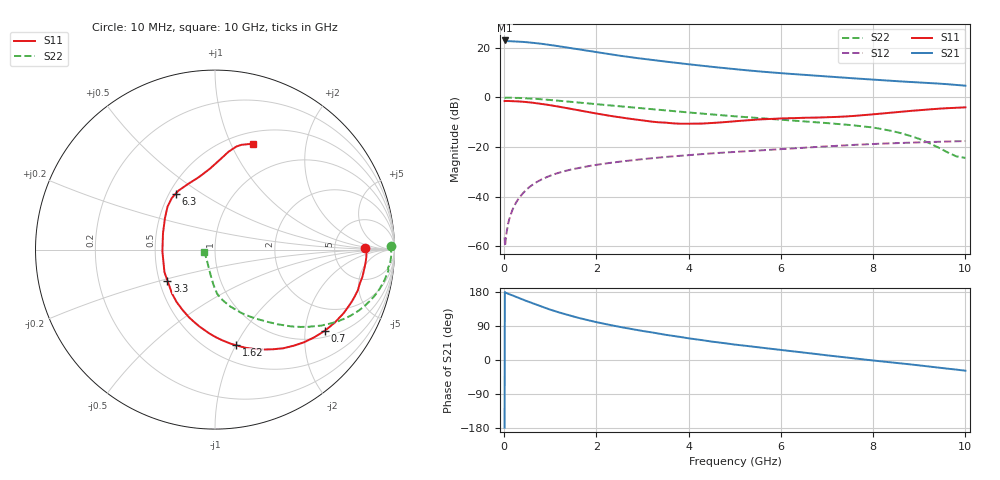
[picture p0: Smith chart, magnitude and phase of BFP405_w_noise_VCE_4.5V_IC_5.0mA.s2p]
! Infineon Technologies  Discrete & RF Semiconductors
! BFP405
! VCE =  4.5 V,  IC =  5.0 mA
! Common Emitter S-Parameters:  Jan 2016
# GHz  S  MA  R  50
!  f  S11  S21  S12  S22
! GHz  MAG  ANG  MAG  ANG  MAG  ANG  MAG  ANG
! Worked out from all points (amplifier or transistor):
!   233 points, 10 MHz to 10 GHz, reference 50 ohm
!   highest |S21| = 22.9 dB at 10 MHz (marker M1)
!   |S21| within 3 dB of that: start of sweep to 1.413 GHz
!   unconditionally stable (mu >= 1): start of sweep to 30.58 MHz; 3.415 GHz to end of sweep
!   at 200 MHz: K = 0.27, MSG = 33.5 dB, |S12| = -44.4 dB
!   at 1.74 GHz: K = 0.56, MSG = 23.5 dB, |S12| = -28.0 dB
!   at 10 GHz: K = 1.44, MAG = 7.2 dB, |S12| = -17.6 dB
!   lowest NFmin = 1.22 dB at 900 MHz
!   S11 on the Smith chart (normalised r, x): 10 MHz: 11, +1; 700 MHz: 1.19, -2.56; 1.62 GHz: 0.66, -1.00; 3.3 GHz: 0.55, -0.21; 6.3 GHz: 0.54, +0.39; 10 GHz: 0.63, +1.22
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0.01  0.8382 0.5  13.96 -178.6  0.0015 -15.6  0.9803 1.3
0.02  0.8438 -0.6  13.74 177.6  0.001 31.0  0.9771 0.1
0.095  0.8421 -4.8  13.54 174.3  0.0031 66.6  0.9824 -2.1
0.24  0.8296 -12.7  13.39 167.5  0.007 75.0  0.9709 -5.7
0.46  0.805 -24.2  12.96 156.8  0.0131 74.2  0.9576 -10.6
0.7  0.7615 -36.3  12.3 145.8  0.0194 70.1  0.928 -15.8
0.9  0.7168 -46.0  11.68 137.0  0.0241 66.7  0.8982 -19.7
1.1  0.6687 -55.3  10.99 129.0  0.0285 63.3  0.8667 -23.3
1.38  0.6002 -67.5  9.998 118.7  0.0337 59.2  0.8204 -27.8
1.62  0.5457 -77.6  9.21 110.9  0.0378 56.2  0.7823 -31.1
1.68  0.5335 -80.1  9.017 109.0  0.0388 55.5  0.7728 -31.9
2  0.4711 -93.3  8.083 99.9  0.0436 52.2  0.726 -35.7
2.4  0.4089 -109.7  7.11 89.9  0.049 48.7  0.6725 -39.8
2.8  0.3623 -126.1  6.318 80.9  0.0541 45.7  0.6236 -43.6
3.3  0.3164 -146.8  5.514 70.9  0.0603 42.0  0.5664 -48.0
3.4  0.3114 -151.4  5.375 68.7  0.0616 41.3  0.5552 -48.9
4  0.2933 -178.0  4.628 57.2  0.0685 37.4  0.4942 -54.3
5.1  0.3341 145.7  3.613 39.4  0.0805 30.4  0.4075 -64.1
6.3  0.3808 125.1  2.922 22.4  0.0939 23.5  0.3388 -73.2
6.8  0.3905 115.9  2.706 15.3  0.1001 20.3  0.3123 -77.1
8.4  0.492 88.0  2.144 -6.4  0.1184 8.1  0.2099 -90.9
10  0.6272 70.2  1.712 -28.2  0.1312 -3.7  0.0601 -167.0
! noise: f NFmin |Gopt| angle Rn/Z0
0.9  1.22  0.36  11  0.33
1.8  1.49  0.28  18  0.31
2.4  1.64  0.24  26  0.31
3  1.66  0.21  44  0.29
4  1.83  0.1  66  0.25
5  2.19  0.05  139  0.23
